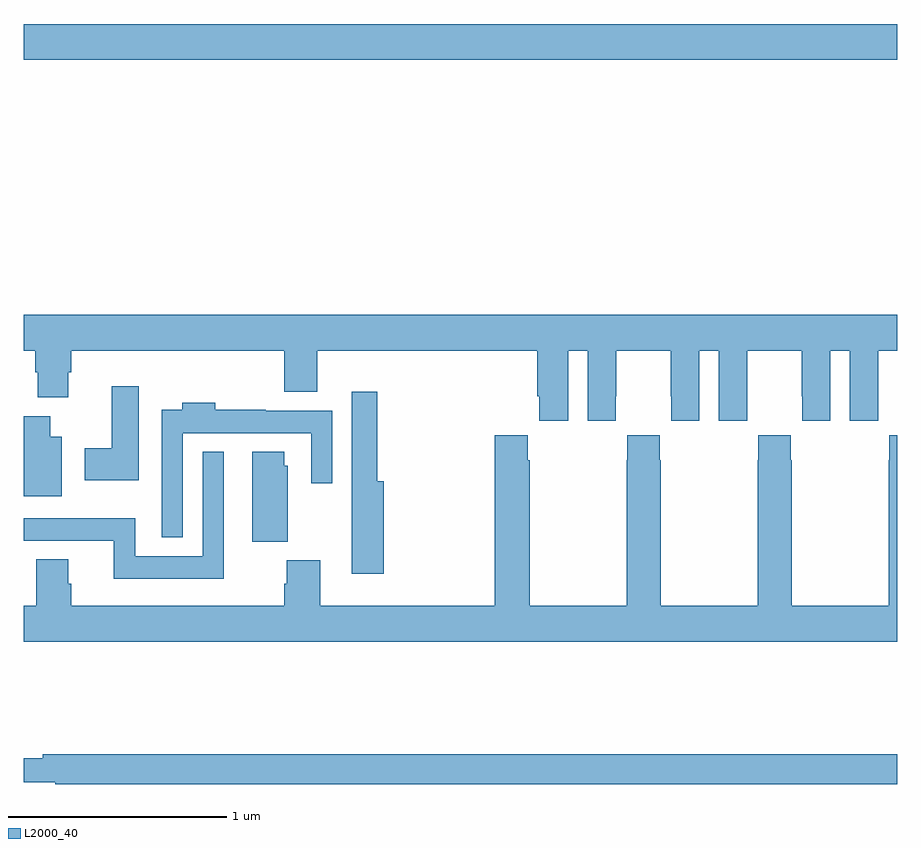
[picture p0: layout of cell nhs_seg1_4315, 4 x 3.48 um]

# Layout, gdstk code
import gdstk
lib = gdstk.Library(unit=1e-6, precision=1e-09)
def R(c, l, rs):  # rectangles x0, y0, x1, y1
    for r in rs: c.add(gdstk.rectangle(r[:2], r[2:], *l))
def P(c, l, *ps):  # polygons
    for p in ps: c.add(gdstk.Polygon(p, *l))
L2000_40 = (2000, 40)

nhs_seg1_4315 = lib.new_cell('nhs_seg1_4315')
R(nhs_seg1_4315, L2000_40, [(345,567.716,349,567.88)])
P(nhs_seg1_4315, L2000_40, [(347.494,566.384),(347.582,566.384),(347.582,566.064),(347.712,566.064),(347.712,566.176),(347.713,566.176),(347.713,566.384),(347.963,566.384),(347.963,566.176),(347.964,566.176),(347.964,566.064),(348.094,566.064),(348.094,566.384),(348.182,566.384),(348.182,566.064),(348.312,566.064),(348.312,566.176),(348.313,566.176),(348.313,566.384),(348.563,566.384),(348.563,566.176),(348.564,566.176),(348.564,566.064),(348.694,566.064),(348.694,566.384),(348.782,566.384),(348.782,566.064),(348.912,566.064),(348.912,566.176),(348.913,566.176),(348.913,566.384),(349,566.384),(349,566.548),(345,566.548),(345,566.384),(345.053,566.384),(345.053,566.286),(345.065,566.286),(345.065,566.172),(345.205,566.172),(345.205,566.286),(345.218,566.286),(345.218,566.384),(346.193,566.384),(346.193,566.195),(346.345,566.195),(346.345,566.384),(347.351,566.384),(347.351,566.176),(347.36,566.176),(347.36,566.064),(347.494,566.064)],
  [(345.526,566.221),(345.404,566.221),(345.404,565.938),(345.279,565.938),(345.279,565.79),(345.526,565.79)],
  [(346.649,565.786),(346.619,565.786),(346.619,566.197),(346.503,566.197),(346.503,565.682),(346.502,565.682),(346.502,565.362),(346.649,565.362)],
  [(345.729,566.006),(346.317,566.006),(346.317,565.776),(346.413,565.776),(346.413,566.11),(346.109,566.11),(346.109,566.113),(345.878,566.113),(345.878,566.146),(345.725,566.146),(345.725,566.113),(345.633,566.113),(345.633,565.529),(345.729,565.529)],
  [(345.175,565.99),(345.121,565.99),(345.121,566.083),(345,566.083),(345,565.718),(345.175,565.718)],
  [(349,565.996),(348.963,565.996),(348.963,565.883),(348.961,565.883),(348.961,565.216),(348.516,565.216),(348.516,565.883),(348.513,565.883),(348.513,565.996),(348.363,565.996),(348.363,565.883),(348.361,565.883),(348.361,565.216),(347.916,565.216),(347.916,565.883),(347.913,565.883),(347.913,565.996),(347.763,565.996),(347.763,565.883),(347.761,565.883),(347.761,565.216),(347.316,565.216),(347.316,565.883),(347.309,565.883),(347.309,565.996),(347.156,565.996),(347.156,565.216),(346.358,565.216),(346.358,565.425),(346.205,565.425),(346.205,565.316),(346.193,565.316),(346.193,565.216),(345.218,565.216),(345.218,565.317),(345.205,565.317),(345.205,565.429),(345.058,565.429),(345.058,565.216),(345,565.216),(345,565.052),(349,565.052)],
  [(345.916,565.921),(345.819,565.921),(345.819,565.444),(345.51,565.444),(345.51,565.618),(345,565.618),(345,565.514),(345.413,565.514),(345.413,565.34),(345.916,565.34)],
  [(346.21,565.857),(346.192,565.857),(346.192,565.921),(346.046,565.921),(346.046,565.51),(346.21,565.51)],
  [(349,564.536),(345.088,564.536),(345.088,564.517),(345,564.517),(345,564.408),(345.145,564.408),(345.145,564.4),(349,564.4)])

lib.write_gds('nhs_seg1_4315.gds')
